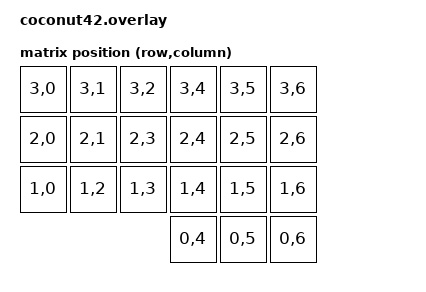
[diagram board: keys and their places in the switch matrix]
/*
 * Copyright (c) 2021 The ZMK Contributors
 *
 * SPDX-License-Identifier: MIT
 */

#include <dt-bindings/zmk/matrix_transform.h>

#include <physical_layouts.dtsi>

/ {
    chosen {
        zmk,kscan = &kscan0;
        zmk,matrix-transform = &default_transform;
    };

    default_transform: matrix_transform {
        compatible = "zmk,matrix-transform";
        columns = <7>;
        rows = <4>;
        map = <
            RC(3,0) RC(3,1) RC(3,2) RC(3,4) RC(3,5) RC(3,6)
            RC(2,0) RC(2,1) RC(2,3) RC(2,4) RC(2,5) RC(2,6)
            RC(1,0) RC(1,2) RC(1,3) RC(1,4) RC(1,5) RC(1,6)
                                    RC(0,4) RC(0,5) RC(0,6)
        >;
    };

    kscan0: kscan_0 {
        compatible = "zmk,kscan-gpio-charlieplex";
        wakeup-source;

        interrupt-gpios
            = <&xiao_d 7 (GPIO_ACTIVE_HIGH | GPIO_PULL_DOWN)>;
        gpios
            = <&xiao_d  0 (GPIO_ACTIVE_HIGH)>
            , <&xiao_d  1 (GPIO_ACTIVE_HIGH)>
            , <&xiao_d  2 (GPIO_ACTIVE_HIGH)>
            , <&xiao_d  3 (GPIO_ACTIVE_HIGH)>
            , <&xiao_d 10 (GPIO_ACTIVE_HIGH)>
            , <&xiao_d  9 (GPIO_ACTIVE_HIGH)>
            , <&xiao_d  8 (GPIO_ACTIVE_HIGH)>
            ;    
    };

    // layout_0: layout_0 {
    //     compatible = "zmk,physical-layout";
    //     display-name = "Default";

    //     transform = <&default_transform>;

    //     keys  //                     w   h    x    y     rot    rx    ry
    //         = <&key_physical_attrs 100 100    0    0       0     0     0>
    //         , <&key_physical_attrs 100 100  100    0       0     0     0>
    //         , <&key_physical_attrs 100 100  200    0       0     0     0>
    //         , <&key_physical_attrs 100 100  300    0       0     0     0>
    //         , <&key_physical_attrs 100 100  400    0       0     0     0>
    //         , <&key_physical_attrs 100 100  500    0       0     0     0>
    //         , <&key_physical_attrs 100 100    0  100       0     0     0>
    //         , <&key_physical_attrs 100 100  100  100       0     0     0>
    //         , <&key_physical_attrs 100 100  200  100       0     0     0>
    //         , <&key_physical_attrs 100 100  300  100       0     0     0>
    //         , <&key_physical_attrs 100 100  400  100       0     0     0>
    //         , <&key_physical_attrs 100 100  500  100       0     0     0>
    //         , <&key_physical_attrs 100 100    0  200       0     0     0>
    //         , <&key_physical_attrs 100 100  100  200       0     0     0>
    //         , <&key_physical_attrs 100 100  200  200       0     0     0>
    //         , <&key_physical_attrs 100 100  300  200       0     0     0>
    //         , <&key_physical_attrs 100 100  400  200       0     0     0>
    //         , <&key_physical_attrs 100 100  500  200       0     0     0>
    //         , <&key_physical_attrs 100 100  300  300       0     0     0>
    //         , <&key_physical_attrs 100 100  400  300       0     0     0>
    //         , <&key_physical_attrs 100 100  500  300       0     0     0>
    //         ;
    // };
};
